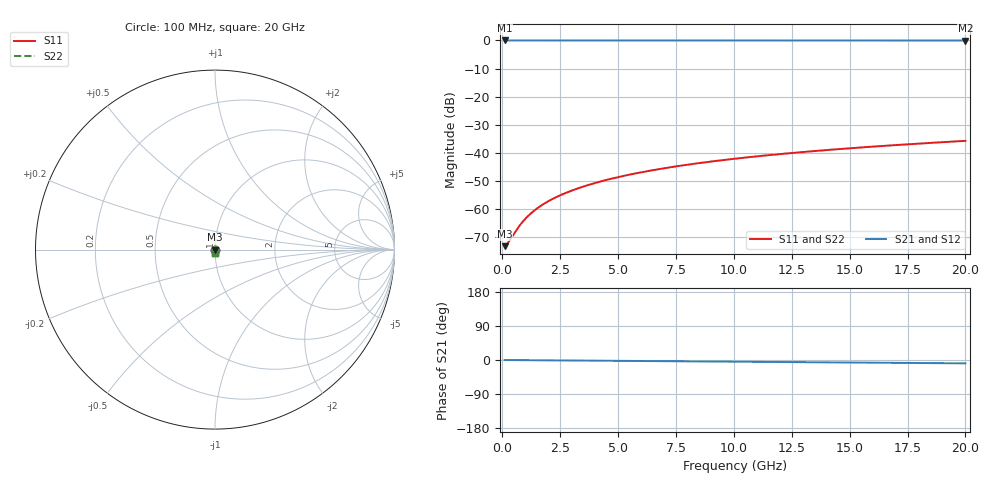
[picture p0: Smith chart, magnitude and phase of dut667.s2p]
! Touchstone file exported from HFSS 2026.1.0
!  File:  C:/ffzhzh/LocalFiles/Ansys_Project_Files/temp_train_TSV_667_1783027051_46388.aedt
!  Generated:  05:19:32 AM Jul  3, 2026
!  Design:  TSV
!  Project:  temp_train_TSV_667_1783027051_46388
! Variables:
!  h_bsmrdl = 2um
!  h_ox = 20um
!  h_rdl = 5um
!  h_sub = 93.86um
!  h_tmrdl = 5um
!  h_tsv = 93.86um
!  h_via = 3um
!  l_bsmrdl = 300um
!  l_sub = 415.64um
!  l_tmrdl = 200um
!  m_sub = 200um
!  pitch = 28.69um
!  r_tsv = 7.82um
!  s_tmrdl = 10um
!  w_bsmrdl = 18um
!  w_sub = 500um
!  w_tmrdl = 12um
!  x_tsv_center1 = 206um
!  x_tsv_center2 = 524um
!  x_tsv_center3 = 736um
!  x_tsv_center4 = 1054um
!  x_tsv_center5 = 1266um
!  x_tsv_center6 = 1584um
# GHz S MA R 50.000000
! Terminal data exported
! Port[1] = TSV1_1_T1
! Port[2] = TSV1_1_T2
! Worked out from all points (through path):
!   200 points, 100 MHz to 20 GHz, reference 50 ohm
!   highest |S21| = 0.00 dB at 100 MHz (marker M1); lowest = 0.0 dB at 20 GHz (marker M2)
!   group delay of S21, straight-line fit = 1.22 ps
!   lowest |S11| = -73.1 dB at 100 MHz (marker M3), VSWR 1.00, Z = 50 - j0.00235 ohm
!   |S11| at or under -10 dB: start of sweep to end of sweep
!   |S22| runs from -73.1 to -35.7 dB; largest |S21 - S12| = 4.9e-15
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0.1  0.0002217 -6.1  0.9998 -0.0  0.9998 -0.0  0.0002217 -6.1
! Gamma 0 0 0 0
! Port Impedance 50 0 50 0
0.2  0.000242 -12.1  0.9998 -0.1  0.9998 -0.1  0.000242 -12.1
0.3  0.0002743 -18.0  0.9997 -0.1  0.9997 -0.1  0.0002743 -18.0
0.6  0.000423 -33.6  0.9996 -0.3  0.9996 -0.3  0.000423 -33.6
0.7  0.0004837 -37.9  0.9996 -0.3  0.9996 -0.3  0.0004837 -37.9
0.9  0.000614 -45.0  0.9996 -0.4  0.9996 -0.4  0.000614 -45.0
1.2  0.0008216 -53.0  0.9995 -0.5  0.9995 -0.5  0.0008216 -53.0
1.5  0.001036 -58.6  0.9994 -0.7  0.9994 -0.7  0.001036 -58.6
1.9  0.001328 -63.8  0.9994 -0.9  0.9994 -0.9  0.001328 -63.8
2.4  0.001699 -68.1  0.9993 -1.1  0.9993 -1.1  0.001699 -68.1
2.9  0.002077 -71.1  0.9993 -1.3  0.9993 -1.3  0.002077 -71.1
3.5  0.002539 -73.6  0.9992 -1.6  0.9992 -1.6  0.002539 -73.6
4.2  0.003089 -75.7  0.9991 -1.9  0.9991 -1.9  0.003089 -75.7
5  0.003731 -77.6  0.9991 -2.2  0.9991 -2.2  0.003731 -77.6
5.9  0.004465 -79.3  0.999 -2.6  0.999 -2.6  0.004465 -79.3
6.8  0.005209 -80.8  0.9989 -3.0  0.9989 -3.0  0.005209 -80.8
8.3  0.006462 -82.8  0.9988 -3.7  0.9988 -3.7  0.006462 -82.8
10.1  0.00798 -84.8  0.9986 -4.5  0.9986 -4.5  0.00798 -84.8
11.7  0.009336 -86.3  0.9985 -5.2  0.9985 -5.2  0.009336 -86.3
13.4  0.01078 -87.7  0.9984 -5.9  0.9984 -5.9  0.01078 -87.7
16.7  0.0136 -90.1  0.9982 -7.4  0.9982 -7.4  0.0136 -90.1
20  0.01645 -92.2  0.9979 -8.8  0.9979 -8.8  0.01646 -92.2
